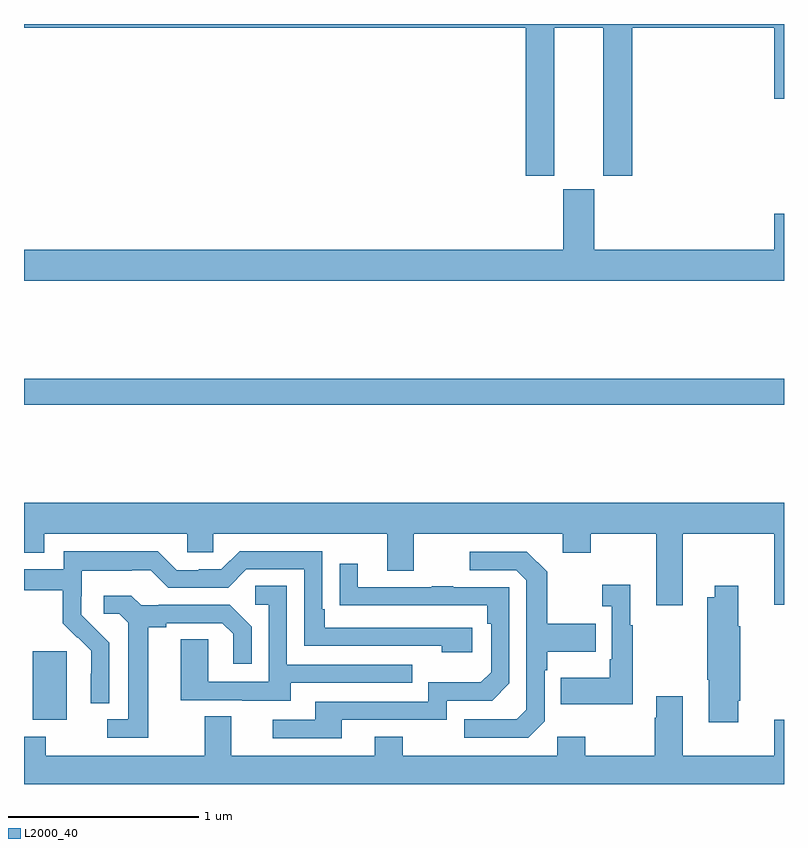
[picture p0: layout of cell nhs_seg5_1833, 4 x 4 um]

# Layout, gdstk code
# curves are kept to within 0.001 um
import gdstk
lib = gdstk.Library(unit=1e-6, precision=1e-09)
def R(c, l, rs):  # rectangles x0, y0, x1, y1
    for r in rs: c.add(gdstk.rectangle(r[:2], r[2:], *l))
def P(c, l, *ps):  # polygons
    for p in ps: c.add(gdstk.Polygon(p, *l))
L2000_40 = (2000, 40)

nhs_seg5_1833 = lib.new_cell('nhs_seg5_1833')
R(nhs_seg5_1833, L2000_40, [(221.045,833.138,221.224,833.499), (221,834.796,225,834.932)])
P(nhs_seg5_1833, L2000_40, [(223.792,836.78),(224.048,836.78),(224.048,836.001),(224.201,836.001),(224.201,836.78),(224.948,836.78),(224.948,836.406),(225,836.406),(225,836.799),(221,836.799),(221,836.78),(223.64,836.78),(223.64,836.001),(223.792,836.001)],
  [(225,835.801),(224.948,835.801),(224.948,835.612),(224.002,835.612),(224.002,835.929),(223.838,835.929),(223.838,835.612),(221,835.612),(221,835.448),(225,835.448)],
  [(224.467,834.116),(224.948,834.116),(224.948,833.742),(225,833.742),(225,834.28),(221,834.28),(221,834.017),(221.107,834.017),(221.107,834.116),(221.859,834.116),(221.859,834.018),(221.997,834.018),(221.997,834.116),(222.911,834.116),(222.911,833.922),(223.051,833.922),(223.051,834.116),(223.835,834.116),(223.835,834.017),(223.983,834.017),(223.983,834.116),(224.327,834.116),(224.327,833.739),(224.467,833.739)],
  [(221.448,833.542),(221.302,833.69),(221.302,833.787),(221.304,833.787),(221.304,833.921),(221.567,833.921),(221.567,833.925),(221.667,833.925),(221.76,833.832),(222.075,833.832),(222.171,833.928),(222.474,833.928),(222.474,833.526),(223.199,833.526),(223.199,833.492),(223.36,833.492),(223.36,833.622),(222.583,833.622),(222.583,833.719),(222.57,833.719),(222.57,834.024),(222.135,834.024),(222.039,833.928),(221.921,833.928),(221.921,833.925),(221.805,833.925),(221.705,834.025),(221.208,834.025),(221.208,833.928),(221,833.928),(221,833.82),(221.203,833.82),(221.203,833.645),(221.28,833.568),(221.283,833.571),(221.354,833.501),(221.354,833.378),(221.352,833.378),(221.352,833.224),(221.448,833.224)],
  [(223.74,833.13),(223.74,833.399),(223.753,833.399),(223.753,833.495),(224.009,833.495),(224.009,833.643),(223.753,833.643),(223.753,833.915),(223.647,834.021),(223.347,834.021),(223.347,833.925),(223.59,833.925),(223.644,833.871),(223.644,833.19),(223.593,833.139),(223.317,833.139),(223.317,833.043),(223.653,833.043)],
  [(222.673,833.136),(223.224,833.136),(223.224,833.238),(223.464,833.238),(223.554,833.328),(223.554,833.835),(223.259,833.835),(223.259,833.84),(223.147,833.84),(223.147,833.835),(222.757,833.835),(222.757,833.959),(222.661,833.959),(222.661,833.74),(223.438,833.739),(223.438,833.642),(223.458,833.642),(223.458,833.388),(223.405,833.335),(223.128,833.335),(223.128,833.232),(222.533,833.232),(222.533,833.136),(222.309,833.136),(222.309,833.04),(222.673,833.04)],
  [(224.203,833.635),(224.191,833.635),(224.191,833.848),(224.043,833.848),(224.043,833.735),(224.094,833.735),(224.094,833.455),(224.082,833.455),(224.082,833.359),(223.825,833.359),(223.825,833.219),(224.203,833.219)],
  [(222.403,833.331),(223.043,833.331),(223.043,833.427),(222.384,833.427),(222.384,833.843),(222.216,833.843),(222.216,833.742),(222.288,833.742),(222.288,833.337),(221.97,833.337),(221.97,833.561),(221.825,833.561),(221.825,833.241),(222.149,833.241),(222.149,833.237),(222.403,833.237)],
  [(224.758,833.236),(224.771,833.236),(224.771,833.629),(224.758,833.629),(224.758,833.842),(224.636,833.842),(224.636,833.782),(224.596,833.782),(224.596,833.347),(224.603,833.347),(224.603,833.124),(224.758,833.124)],
  [(221.653,833.624),(221.749,833.624),(221.749,833.646),(222.044,833.646),(222.101,833.589),(222.101,833.433),(222.198,833.433),(222.198,833.626),(222.082,833.742),(221.71,833.742),(221.71,833.739),(221.616,833.739),(221.564,833.791),(221.421,833.791),(221.421,833.694),(221.502,833.694),(221.549,833.647),(221.549,833.139),(221.439,833.139),(221.439,833.043),(221.653,833.043)],
  [(225,833.137),(224.948,833.137),(224.948,832.948),(224.467,832.948),(224.467,833.26),(224.327,833.26),(224.327,833.147),(224.32,833.147),(224.32,832.948),(223.953,832.948),(223.953,833.047),(223.806,833.047),(223.806,832.948),(222.993,832.948),(222.993,833.047),(222.845,833.047),(222.845,832.948),(222.091,832.948),(222.091,833.156),(221.951,833.156),(221.951,832.948),(221.115,832.948),(221.115,833.047),(221,833.047),(221,832.799),(225,832.799)])

lib.write_gds('nhs_seg5_1833.gds')
